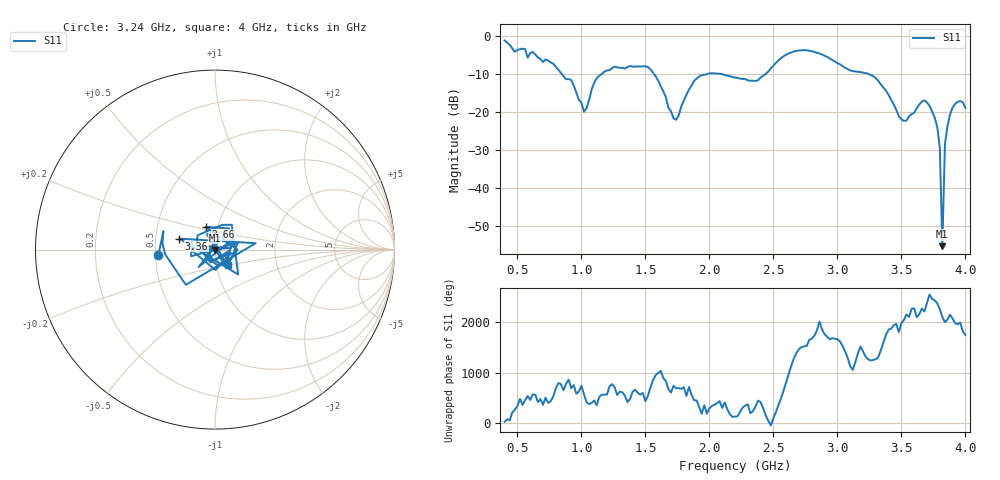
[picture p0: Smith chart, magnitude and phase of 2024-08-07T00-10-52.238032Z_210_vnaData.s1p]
!Created with skrf (http://scikit-rf.org).
# Hz S RI R 50.0
!freq ReS11 ImS11
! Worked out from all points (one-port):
!   181 points, 400 MHz to 4 GHz, reference 50 ohm
!   lowest |S11| = -55.4 dB at 3.82 GHz (marker M1), VSWR 1.00, Z = 50.1 - j0.144 ohm
!   |S11| at or under -10 dB: 1.566 GHz to 1.988 GHz (421.6 MHz wide, 23.7 % of centre); 2.09 GHz to 2.441 GHz (351.4 MHz wide, 15.5 % of centre); 3.241 GHz to end of sweep (the widest 3 of 4)
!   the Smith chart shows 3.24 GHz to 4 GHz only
!   S11 on the Smith chart (normalised r, x): 3.24 GHz: 0.52, -0.03; 3.36 GHz: 0.66, +0.08; 3.66 GHz: 0.88, +0.23; 4 GHz: 1.14, -0.20
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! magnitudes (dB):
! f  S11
! 400 MHz  -1.2
! 860 MHz  -10.6
! 920 MHz  -11.6
! 1.02 GHz  -19.9
! 1.12 GHz  -11.1
! 1.3 GHz  -8.4
! 1.52 GHz  -8.2
! 1.6 GHz  -11.8
! 1.72 GHz  -21.8
! 1.76 GHz  -21.0
! 1.92 GHz  -10.7
! 2.2 GHz  -11.0
! 2.38 GHz  -11.7
! 2.66 GHz  -4.1
! 3.1 GHz  -9.1
! 3.24 GHz  -10.0
! 3.36 GHz  -13.6
! 3.5 GHz  -22.0
! 3.56 GHz  -21.2
! 3.66 GHz  -17.3
! 3.72 GHz  -18.5
! 3.78 GHz  -23.9
! 3.8 GHz  -29.4
! 3.82 GHz  -55.4
! 3.84 GHz  -28.6
! 3.86 GHz  -23.7
! 3.92 GHz  -17.9
! 4 GHz  -19.0
